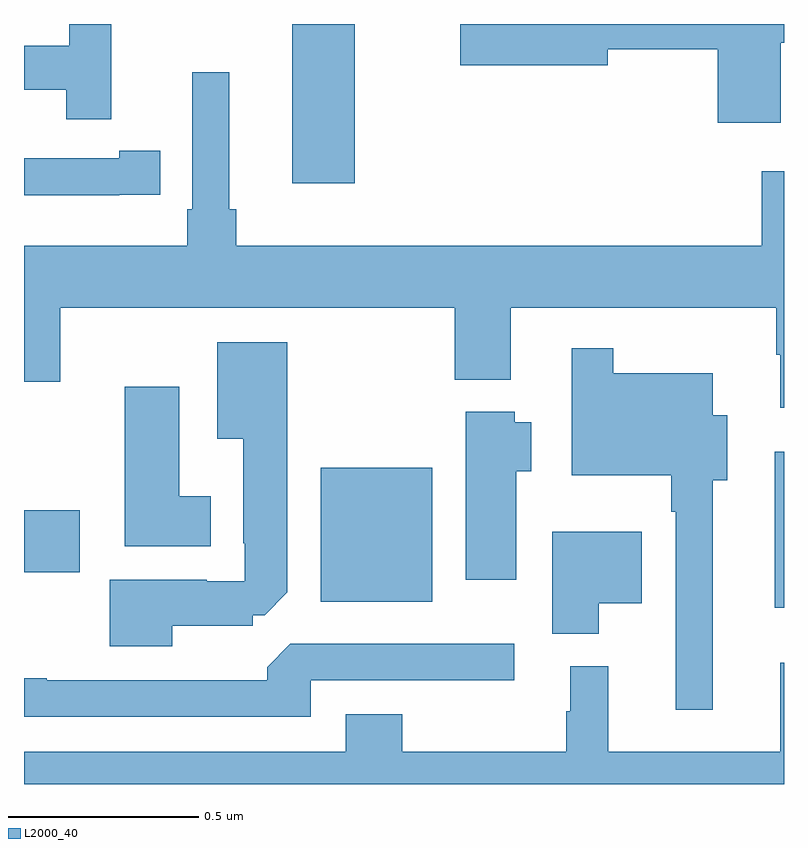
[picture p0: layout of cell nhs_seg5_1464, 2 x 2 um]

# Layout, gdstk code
import gdstk
lib = gdstk.Library(unit=1e-6, precision=1e-09)
def R(c, l, rs):  # rectangles x0, y0, x1, y1
    for r in rs: c.add(gdstk.rectangle(r[:2], r[2:], *l))
def P(c, l, *ps):  # polygons
    for p in ps: c.add(gdstk.Polygon(p, *l))
L2000_40 = (2000, 40)

nhs_seg5_1464 = lib.new_cell('nhs_seg5_1464')
R(nhs_seg5_1464, L2000_40, [(131.975,897.263,132,897.673), (130.781,897.278,131.074,897.631), (130,897.356,130.147,897.519), (130.706,898.38,130.87,898.799)])
P(nhs_seg5_1464, L2000_40, [(130.229,898.799),(130.119,898.799),(130.119,898.742),(130,898.742),(130,898.626),(130.111,898.626),(130.111,898.548),(130.229,898.548)],
  [(131.992,898.75),(132,898.75),(132,898.799),(131.148,898.799),(131.148,898.69),(131.536,898.69),(131.536,898.732),(131.825,898.732),(131.825,898.539),(131.992,898.539)],
  [(130.25,898.35),(130.358,898.35),(130.358,898.466),(130.25,898.466),(130.25,898.446),(130,898.446),(130,898.349),(130.25,898.349)],
  [(130.443,898.672),(130.443,898.312),(130.43,898.312),(130.43,898.216),(130,898.216),(130,897.858),(130.096,897.858),(130.096,898.052),(131.134,898.052),(131.134,897.863),(131.281,897.863),(131.281,898.052),(131.979,898.052),(131.979,897.929),(131.99,897.929),(131.99,897.789),(132,897.789),(132,898.411),(131.942,898.411),(131.942,898.216),(130.559,898.216),(130.559,898.312),(130.54,898.312),(130.54,898.672)],
  [(130.39,897.215),(130.602,897.215),(130.602,897.243),(130.633,897.243),(130.693,897.303),(130.693,897.961),(130.508,897.961),(130.508,897.707),(130.577,897.707),(130.577,897.433),(130.581,897.433),(130.581,897.333),(130.481,897.333),(130.481,897.337),(130.226,897.337),(130.226,897.161),(130.39,897.161)],
  [(131.812,897.599),(131.851,897.599),(131.851,897.769),(131.812,897.769),(131.812,897.88),(131.551,897.88),(131.551,897.946),(131.442,897.946),(131.442,897.611),(131.703,897.611),(131.703,897.515),(131.715,897.515),(131.715,896.994),(131.812,896.994)],
  [(130.492,897.556),(130.408,897.556),(130.408,897.844),(130.265,897.844),(130.265,897.425),(130.492,897.425)],
  [(131.296,897.622),(131.335,897.622),(131.335,897.751),(131.292,897.751),(131.292,897.778),(131.162,897.778),(131.162,897.336),(131.296,897.336)],
  [(131.512,897.275),(131.626,897.275),(131.626,897.463),(131.39,897.463),(131.39,897.194),(131.512,897.194)],
  [(130.755,897.072),(131.29,897.072),(131.29,897.168),(130.701,897.168),(130.64,897.106),(130.64,897.072),(130.06,897.072),(130.06,897.077),(130,897.077),(130,896.976),(130.755,896.976)],
  [(132,897.118),(131.99,897.118),(131.99,896.884),(131.537,896.884),(131.537,897.109),(131.438,897.109),(131.438,896.991),(131.427,896.991),(131.427,896.884),(130.995,896.884),(130.995,896.983),(130.847,896.983),(130.847,896.884),(130,896.884),(130,896.799),(132,896.799)])

lib.write_gds('nhs_seg5_1464.gds')
